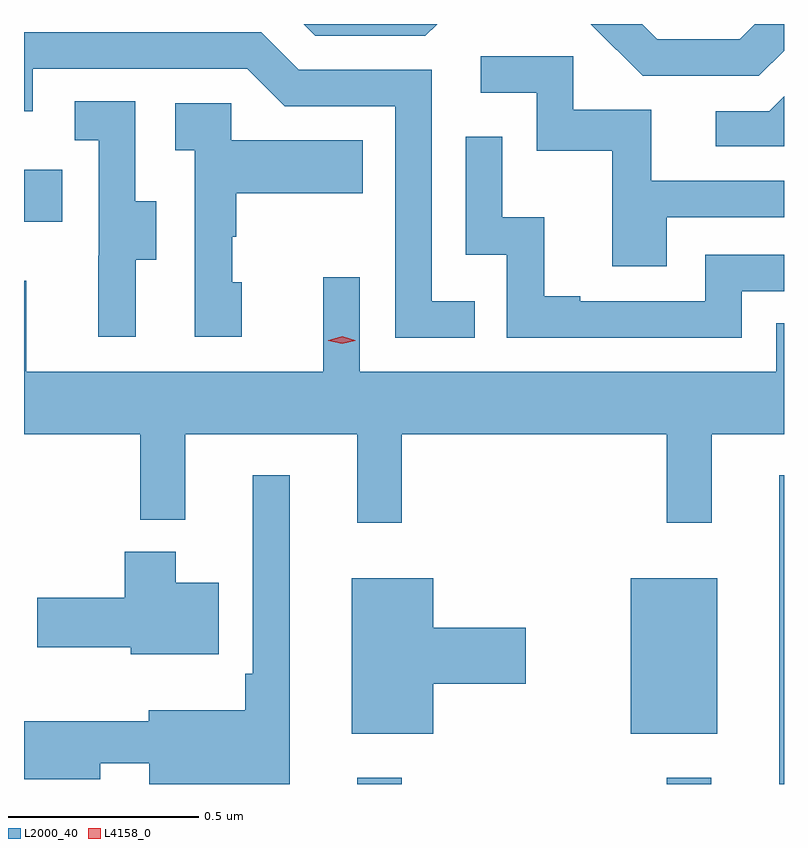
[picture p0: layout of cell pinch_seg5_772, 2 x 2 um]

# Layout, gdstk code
import gdstk
lib = gdstk.Library(unit=1e-6, precision=1e-09)
def R(c, l, rs):  # rectangles x0, y0, x1, y1
    for r in rs: c.add(gdstk.rectangle(r[:2], r[2:], *l))
def P(c, l, *ps):  # polygons
    for p in ps: c.add(gdstk.Polygon(p, *l))
L2000_40 = (2000, 40)
L4158_0 = (4158, 0)

pinch_seg5_772 = lib.new_cell('pinch_seg5_772')
R(pinch_seg5_772, L2000_40, [(844.61,901.127,844.727,901.144), (845.425,901.127,845.542,901.144), (845.72,901.127,845.733,901.939), (845.33,901.259,845.557,901.669), (843.733,902.606,843.833,902.743)])
P(pinch_seg5_772, L2000_40, [(845.733,903.057),(845.733,903.127),(845.656,903.127),(845.616,903.087),(845.4,903.087),(845.36,903.127),(845.225,903.127),(845.361,902.991),(845.667,902.991)],
  [(844.82,903.127),(844.469,903.127),(844.5,903.096),(844.789,903.096)],
  [(844.919,902.397),(844.806,902.397),(844.806,903.006),(844.456,903.006),(844.357,903.105),(843.733,903.105),(843.733,902.897),(843.756,902.897),(843.756,903.009),(844.32,903.009),(844.419,902.91),(844.71,902.91),(844.71,902.301),(844.919,902.301)],
  [(845.425,902.619),(845.733,902.619),(845.733,902.715),(845.383,902.715),(845.383,902.901),(845.178,902.901),(845.178,903.042),(844.935,903.042),(844.935,902.946),(845.082,902.946),(845.082,902.793),(845.281,902.793),(845.281,902.49),(845.425,902.49)],
  [(845.733,902.937),(845.694,902.898),(845.553,902.898),(845.553,902.805),(845.733,902.805)],
  [(844.027,902.506),(844.081,902.506),(844.081,902.661),(844.026,902.661),(844.026,902.924),(843.867,902.924),(843.867,902.821),(843.93,902.821),(843.93,902.517),(843.929,902.517),(843.929,902.304),(844.027,902.304)],
  [(844.306,902.448),(844.281,902.448),(844.281,902.567),(844.291,902.567),(844.291,902.681),(844.625,902.681),(844.625,902.821),(844.278,902.821),(844.278,902.919),(844.131,902.919),(844.131,902.795),(844.182,902.795),(844.182,902.304),(844.306,902.304)],
  [(845.622,902.424),(845.733,902.424),(845.733,902.52),(845.526,902.52),(845.526,902.397),(845.197,902.397),(845.197,902.41),(845.102,902.41),(845.102,902.618),(844.992,902.618),(844.992,902.83),(844.896,902.83),(844.896,902.52),(845.004,902.52),(845.004,902.301),(845.622,902.301)],
  [(844.727,902.048),(845.425,902.048),(845.425,901.815),(845.543,901.815),(845.543,902.048),(845.733,902.048),(845.733,902.339),(845.712,902.339),(845.712,902.212),(844.617,902.212),(844.617,902.461),(844.52,902.461),(844.52,902.212),(843.739,902.212),(843.739,902.452),(843.733,902.452),(843.733,902.048),(844.039,902.048),(844.039,901.823),(844.157,901.823),(844.157,902.048),(844.61,902.048),(844.61,901.815),(844.727,901.815)],
  [(844.432,901.939),(844.335,901.939),(844.335,901.417),(844.315,901.417),(844.315,901.321),(844.061,901.321),(844.061,901.292),(843.733,901.292),(843.733,901.139),(843.934,901.139),(843.934,901.182),(844.062,901.182),(844.062,901.127),(844.432,901.127)],
  [(844.246,901.657),(844.132,901.657),(844.132,901.738),(843.998,901.738),(843.998,901.617),(843.768,901.617),(843.768,901.487),(844.014,901.487),(844.014,901.469),(844.246,901.469)],
  [(844.81,901.391),(845.053,901.391),(845.053,901.538),(844.81,901.538),(844.81,901.669),(844.595,901.669),(844.595,901.259),(844.81,901.259)])
P(pinch_seg5_772, L4158_0, [(844.57,902.285),(844.534,902.294),(844.534,902.295),(844.534,902.295),(844.57,902.305),(844.605,902.295),(844.605,902.295),(844.605,902.294)])

lib.write_gds('pinch_seg5_772.gds')
